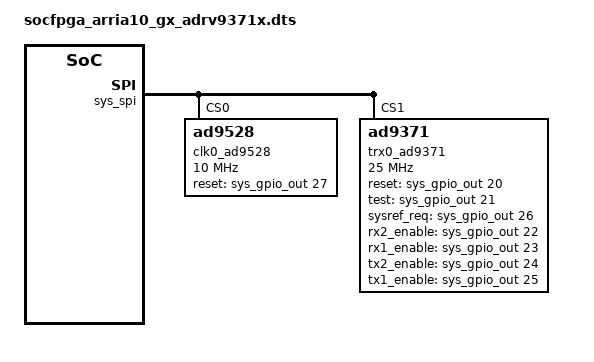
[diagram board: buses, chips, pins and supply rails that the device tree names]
// SPDX-License-Identifier: GPL-2.0
/*
 * Complete Radio Card platform containing AD9371
 * Link: https://wiki.analog.com/resources/eval/user-guides/mykonos/quickstart
 *
 * hdl_project: <adrv9371x/a10gx>
 * board_revision: <A>
 *
 * Copyright 2016-2019 Analog Devices Inc.
 */
/dts-v1/;

#include <dt-bindings/iio/frequency/ad9528.h>
#include "socfpga_arria10_gx.dtsi"

/ {
	
	clocks {
		dma_clk: dma_clk {
			#clock-cells = <0>;
			compatible = "fixed-clock";
			clock-frequency = <266520000>;
			clock-output-names = "dma_clock";
		};
	};


	sopc0: sopc {
	
		sys_spi: spi@10050ca0 {
			compatible = "altr,spi-1.0";
			reg = <0x10050ca0 0x00000020>;
			interrupt-parent = <&sys_cpu>;
			interrupts = <7>;

			#address-cells = <1>;
			#size-cells = <0>;

			clk0_ad9528: ad9528-1@0 {
				#address-cells = <1>;
				#size-cells = <0>;
				#clock-cells = <1>;
				compatible = "ad9528";

				reset-gpios = <&sys_gpio_out 27 0>;

				//spi-cpol;
				//spi-cpha;
				spi-max-frequency = <10000000>;
				//adi,spi-3wire-enable;
				reg = <0>;

				clock-output-names = "ad9528-1_out0", "ad9528-1_out1", "ad9528-1_out2", "ad9528-1_out3", "ad9528-1_out4", "ad9528-1_out5", "ad9528-1_out6", "ad9528-1_out7", "ad9528-1_out8", "ad9528-1_out9", "ad9528-1_out10", "ad9528-1_out11", "ad9528-1_out12", "ad9528-1_out13";
				adi,vcxo-freq = <122880000>;

				adi,refa-enable;
				adi,refa-diff-rcv-enable;
				adi,refa-r-div = <1>;
				adi,osc-in-cmos-neg-inp-enable;

				/* PLL1 config */
				adi,pll1-feedback-div = <4>;
				adi,pll1-charge-pump-current-nA = <5000>;

				/* PLL2 config */
				adi,pll2-ndiv-a-cnt = <2>; /* N = 30 */
				adi,pll2-ndiv-b-cnt = <7>;
				adi,pll2-vco-diff-m1 = <3>; /* use 5 for 184320000 output device clock */
				adi,pll2-n2-div = <10>; /* N / M1 */
				adi,pll2-r1-div = <1>;
				adi,pll2-charge-pump-current-nA = <805000>;

				/* SYSREF config */
				adi,sysref-src = <SYSREF_SRC_INTERNAL>;
				adi,sysref-pattern-mode = <SYSREF_PATTERN_CONTINUOUS>;
				adi,sysref-k-div = <512>;
				adi,sysref-request-enable;
				adi,sysref-nshot-mode = <SYSREF_NSHOT_4_PULSES>;
				adi,sysref-request-trigger-mode = <SYSREF_LEVEL_HIGH>;

				adi,rpole2 = <RPOLE2_900_OHM>;
				adi,rzero = <RZERO_1850_OHM>;
				adi,cpole1 = <CPOLE1_16_PF>;

				adi,status-mon-pin0-function-select = <1>; /* PLL1 & PLL2 Locked */
				adi,status-mon-pin1-function-select = <7>; /* REFA Correct */

				ad9528_0_c13: channel@13 {
					reg = <13>;
					adi,extended-name = "DEV_CLK";
					adi,driver-mode = <DRIVER_MODE_LVDS>;
					adi,divider-phase = <0>;
					adi,channel-divider = <10>;
					adi,signal-source = <SOURCE_VCO>;
				};

				ad9528_0_c1: channel@1 {
					reg = <1>;
					adi,extended-name = "FMC_CLK";
					adi,driver-mode = <DRIVER_MODE_LVDS>;
					adi,divider-phase = <0>;
					adi,channel-divider = <10>;
					adi,signal-source = <SOURCE_VCO>;
				};

				ad9528_0_c12: channel@12 {
					reg = <12>;
					adi,extended-name = "DEV_SYSREF";
					adi,driver-mode = <DRIVER_MODE_LVDS>;
					adi,divider-phase = <0>;
					adi,channel-divider = <10>;
					adi,signal-source = <SOURCE_SYSREF_VCO>;
				};

				ad9528_0_c3: channel@3 {
					reg = <3>;
					adi,extended-name = "FMC_SYSREF";
					adi,driver-mode = <DRIVER_MODE_LVDS>;
					adi,divider-phase = <0>;
					adi,channel-divider = <10>;
					adi,signal-source = <SOURCE_SYSREF_VCO>;
				};
			};

			trx0_ad9371: ad9371-phy@1 {
				#address-cells = <1>;
				#size-cells = <0>;
				#clock-cells = <1>;
				compatible = "ad9371";

				reset-gpios = <&sys_gpio_out 20 0>;
				test-gpios = <&sys_gpio_out 21 0>;
				sysref_req-gpios = <&sys_gpio_out 26 0>;
				rx2_enable-gpios = <&sys_gpio_out 22 0>;
				rx1_enable-gpios = <&sys_gpio_out 23 0>;
				tx2_enable-gpios = <&sys_gpio_out 24 0>;
				tx1_enable-gpios = <&sys_gpio_out 25 0>;

				/* SPI Setup */
				reg = <1>;
				spi-max-frequency = <25000000>;

				/* Clocks */
				clocks = <&axi_ad9371_rx_jesd>, <&axi_ad9371_tx_jesd>, <&axi_ad9371_rx_os_jesd>, <&clk0_ad9528 13>, <&clk0_ad9528 1>;
				clock-names = "jesd_rx_clk", "jesd_tx_clk", "jesd_rx_os_clk", "dev_clk", "fmc_clk";
				clock-output-names = "rx_sampl_clk", "rx_os_sampl_clk", "tx_sampl_clk";
			};
		};

    /* JESD */


axi_ad9371_tx_jesd: axi-jesd204-tx@10060000 {
			compatible = "adi,axi-jesd204-tx-1.0";
			reg = <0x10060000 0x4000>;

			interrupt-parent = <&sys_cpu>;
			interrupts = <8>;

			clocks = <&sys_clk>, <&tx_device_clk_pll>, <&axi_ad9371_tx_xcvr>;
			clock-names = "s_axi_aclk", "device_clk", "lane_clk";

			adi,octets-per-frame = <2>;
			adi,frames-per-multiframe = <32>;
			adi,converter-resolution = <14>;
			adi,bits-per-sample = <16>;
			adi,converters-per-device = <4>;
			adi,control-bits-per-sample = <2>;

			#clock-cells = <0>;
			clock-output-names = "jesd_tx_lane_clk";
		};
       

axi_ad9371_rx_jesd: axi-jesd204-rx@10070000 {
			compatible = "adi,axi-jesd204-rx-1.0";
			reg = <0x10070000 0x4000>;

			interrupt-parent = <&sys_cpu>;
			interrupts = <9>;

			clocks = <&sys_clk>, <&rx_device_clk_pll>, <&axi_ad9371_rx_xcvr>;
			clock-names = "s_axi_aclk", "device_clk", "lane_clk";

			adi,octets-per-frame = <4>;
			adi,frames-per-multiframe = <32>;
			adi,converter-resolution = <16>;
			adi,bits-per-sample = <16>;
			adi,converters-per-device = <4>;

			#clock-cells = <0>;
			clock-output-names = "jesd_rx_lane_clk";
		};

axi_ad9371_rx_os_jesd: axi-jesd204-rx@10080000 {
			compatible = "adi,axi-jesd204-rx-1.0";
			reg = <0x10080000 0x4000>;

			interrupt-parent = <&sys_cpu>;
			interrupts = <10>;

			clocks = <&sys_clk>, <&rx_os_device_clk_pll>, <&axi_ad9371_rx_os_xcvr>;
			clock-names = "s_axi_aclk", "device_clk", "lane_clk";

			adi,octets-per-frame = <2>;
			adi,frames-per-multiframe = <32>;
			adi,converter-resolution = <16>;
			adi,bits-per-sample = <16>;
			adi,converters-per-device = <4>;

			#clock-cells = <0>;
			clock-output-names = "jesd_rx_os_lane_clk";
		};


           /* XCVR */

    axi_ad9371_tx_xcvr: axi-ad9371-tx-xcvr@10064000 {
			compatible = "adi,altera-adxcvr-1.00.a";
			reg = <0x10064000 0x00001000>,
				<0x10066000 0x00001000>,
				<0x10068000 0x00001000>,
				<0x10069000 0x00001000>,
				<0x1006a000 0x00001000>,
				<0x1006b000 0x00001000>;
			reg-names = "adxcvr", "atx-pll", "adxcfg-0", "adxcfg-1", "adxcfg-2", "adxcfg-3";

			clocks = <&clk0_ad9528 1>, <&tx_device_clk_pll>;
			clock-names = "ref", "link";

			#clock-cells = <0>;
			clock-output-names = "jesd204_tx_lane_clock";
		};


		axi_ad9371_rx_xcvr: axi-ad9371-rx-xcvr@10074000 {
			compatible = "adi,altera-adxcvr-1.00.a";
			reg = <0x10074000 0x00001000>,
				<0x10078000 0x00001000>,
				<0x10079000 0x00001000>;
			reg-names = "adxcvr", "adxcfg-0", "adxcfg-1";

			clocks = <&clk0_ad9528 1>, <&rx_device_clk_pll>;
			clock-names = "ref", "link";

			#clock-cells = <0>;
			clock-output-names = "jesd204_rx_lane_clock";
		};

	    axi_ad9371_rx_os_xcvr: axi-ad9371-rx-os-xcvr@10084000 {
			compatible = "adi,altera-adxcvr-1.00.a";
			reg = <0x10084000 0x00001000>,
				<0x10088000 0x00001000>,
				<0x10089000 0x00001000>;
			reg-names = "adxcvr", "adxcfg-0", "adxcfg-1";

			clocks = <&clk0_ad9528 1>, <&rx_os_device_clk_pll>;
			clock-names = "ref", "link";

			#clock-cells = <0>;
			clock-output-names = "jesd204_rx_os_lane_clock";
		};
    


           /* DMA */
        
        axi_ad9371_tx_dma: axi-ad9371-tx-dma@1006c000 {
			compatible = "adi,axi-dmac-1.00.a";
			reg = <0x1006c000  0x00004000>;
			interrupt-parent = <&sys_cpu>;
			interrupts = <11>;
			#dma-cells = <1>;
			clocks = <&dma_clk>;
			clock-names = "dma_clkin";

			dma-channel {
				adi,source-bus-width = <128>;
				adi,destination-bus-width = <128>;
				adi,type = <1>;
				adi,cyclic;
			};
		};

		axi_ad9371_rx_dma: axi-ad9371-rx-dma@1007c000 {
			compatible = "adi,axi-dmac-1.00.a";
			reg = <0x1007c000 0x00004000>;
			interrupt-parent = <&sys_cpu>;
			interrupts = <12>;
			#dma-cells = <1>;
			clocks = <&dma_clk>;
			clock-names = "dma_clkin";

			dma-channel {
				adi,source-bus-width = <64>;
				adi,destination-bus-width = <128>;
				adi,type = <0>;
			};
		};

		axi_ad9371_rx_os_dma: axi-ad9371-rx-os-dma@1008c000 {
			compatible = "adi,axi-dmac-1.00.a";
			reg = <0x1008c000 0x00004000>;
			interrupt-parent = <&sys_cpu>;
			interrupts = <13>;
			#dma-cells = <1>;
			clocks = <&dma_clk>;
			clock-names = "dma_clkin";

			dma-channel {
				adi,source-bus-width = <64>;
				adi,destination-bus-width = <128>;
				adi,type = <0>;
			};
		};



            /* HPC */



		axi_ad9371_rx: axi-ad9371-rx-hpc@10090000 {
			compatible = "adi,axi-ad9371-rx-1.0";
			reg = <0x10090000 0x00002000>;
			dmas = <&axi_ad9371_rx_dma 0>;
			dma-names = "rx";
			spibus-connected = <&trx0_ad9371>;
		};

		axi_ad9371_tx: axi-ad9371-tx-hpc@10094000 {
			compatible = "adi,axi-ad9371-tx-1.0";
			reg = <0x10094000 0x00002000>;
			dmas = <&axi_ad9371_tx_dma 0>;
			dma-names = "tx";
			clocks = <&trx0_ad9371 2>;
			clock-names = "sampl_clk";
			spibus-connected = <&trx0_ad9371>;
			adi,axi-pl-fifo-enable;
			plddrbypass-gpios = <&sys_gpio_out 28 0>;
		};

		xcvr_rx_os_core: axi-ad9371-rx-obs-hpc@10098000 {
			compatible = "adi,axi-ad9371-obs-1.0";
			reg = <0x10098000 0x00001000>;
			dmas = <&axi_ad9371_rx_os_dma 0>;
			dma-names = "rx";
			clocks = <&trx0_ad9371 1>;
			clock-names = "sampl_clk";
		};



         /* PLL */
	

		tx_device_clk_pll: altera-a10-fpll@10065000 {
			compatible = "altr,a10-fpll";
			reg = <0x10065000 0x1000>;
			clocks = <&clk0_ad9528 1>;

			#clock-cells = <0>;
			clock-output-names = "jesd204_tx_link_clock";
		};

		rx_device_clk_pll: altera-a10-fpll@10075000 {
			compatible = "altr,a10-fpll";
			reg = <0x10075000 0x1000>;
			clocks = <&clk0_ad9528 1>;

			#clock-cells = <0>;
			clock-output-names = "jesd204_rx_link_clock";
		};

		rx_os_device_clk_pll: altera-a10-fpll@10085000 {
			compatible = "altr,a10-fpll";
			reg = <0x10085000 0x1000>;
			clocks = <&clk0_ad9528 1>;

			#clock-cells = <0>;
			clock-output-names = "jesd204_rx_os_link_clock";
		};
	};

	   chosen {
		bootargs = "debug console=ttyJ0,115200";
	};
};
